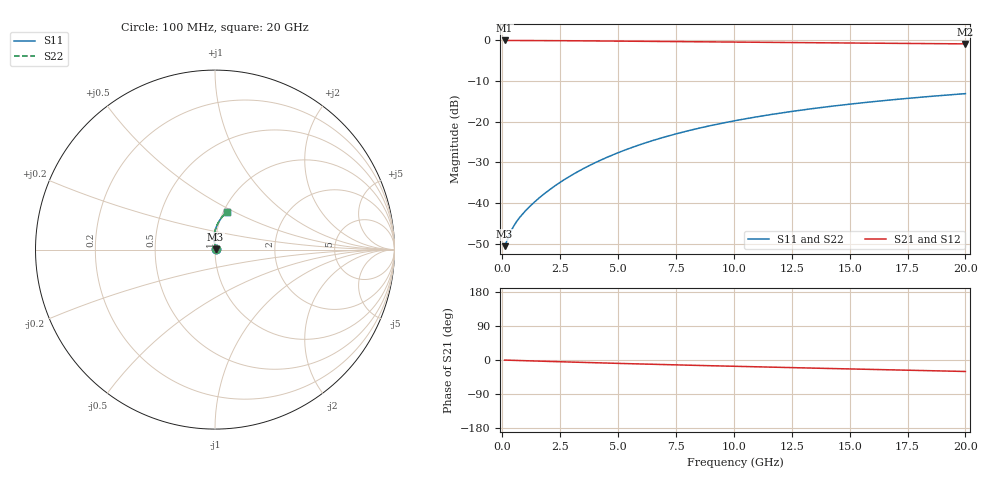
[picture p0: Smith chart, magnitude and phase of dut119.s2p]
! Touchstone file exported from HFSS 2024.1.0
!  File:  C:/UserFiles/LocalFiles/RDL_TSV_Batchsim/temp_RDL_top_119_1778683935.aedt
!  Generated:  10:54:21 PM May 13, 2026
!  Design:  RDL_top
!  Project:  temp_RDL_top_119_1778683935
!  Setup:  Setup1
!  Solution:  Sweep
! Variables:
!  dtsv = 10.80580581um
!  hbump = 3um
!  htsv = 55.53um
!  ldown = 100um
!  lrdl = 468.04um
!  p = 40
!  p1 = 45.51um
!  rhole = 1um
!  t = 450um
!  tdown = 3.915915916um
!  trdl = 2.3um
!  wdown = 15.38538539um
!  wrdl = 29.92um
# GHz S MA R 50.000000
! Terminal data exported
! Port[1] = Box2_T1
! Port[2] = Box2_T2
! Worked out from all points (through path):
!   200 points, 100 MHz to 20 GHz, reference 50 ohm
!   highest |S21| = -0.02 dB at 100 MHz (marker M1); lowest = -0.9 dB at 20 GHz (marker M2)
!   group delay of S21, straight-line fit = 4.13 ps
!   lowest |S11| = -50.6 dB at 100 MHz (marker M3), VSWR 1.01, Z = 50.3 + j0.0941 ohm
!   |S11| at or under -10 dB: start of sweep to end of sweep
!   |S22| runs from -50.6 to -13.1 dB; largest |S21 - S12| = 4.4e-15
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0.1  0.002953 18.5  0.9972 -0.2  0.9972 -0.2  0.002953 18.5
! Gamma 0 0 0 0
! Port Impedance 50 0 50 0
0.3  0.004048 40.4  0.9968 -0.6  0.9968 -0.6  0.004048 40.4
0.4  0.004662 46.1  0.9965 -0.8  0.9965 -0.8  0.004661 46.1
0.5  0.005252 50.3  0.9963 -1.0  0.9963 -1.0  0.005252 50.3
0.6  0.005819 53.8  0.9961 -1.2  0.9961 -1.2  0.005818 53.8
0.8  0.006918 59.7  0.9956 -1.5  0.9956 -1.5  0.006917 59.7
1.2  0.009163 68.9  0.9947 -2.3  0.9947 -2.3  0.009162 68.9
1.7  0.01226 77.3  0.9935 -3.2  0.9935 -3.2  0.01226 77.3
2.2  0.01574 83.2  0.9919 -4.1  0.9919 -4.1  0.01574 83.2
2.8  0.0204 88.1  0.9897 -5.2  0.9897 -5.2  0.0204 88.2
3.5  0.02649 91.8  0.9866 -6.4  0.9866 -6.4  0.0265 91.9
4.2  0.03322 94.0  0.9832 -7.6  0.9832 -7.6  0.03323 94.1
5  0.04158 95.2  0.979 -8.9  0.979 -8.9  0.0416 95.3
5.9  0.05168 95.5  0.9741 -10.4  0.9741 -10.4  0.05171 95.5
6.8  0.06232 95.0  0.9691 -11.8  0.9691 -11.8  0.06236 95.0
8.4  0.08207 93.0  0.9603 -14.2  0.9603 -14.2  0.08213 93.1
10.1  0.1035 90.2  0.9514 -16.7  0.9514 -16.7  0.1036 90.2
11.7  0.1237 87.2  0.9433 -19.0  0.9433 -19.0  0.1238 87.2
13.4  0.1449 84.0  0.9351 -21.4  0.9351 -21.4  0.145 84.0
15  0.1643 81.0  0.9277 -23.6  0.9277 -23.6  0.1645 81.1
16.7  0.1844 77.9  0.92 -25.9  0.92 -25.9  0.1846 78.0
20  0.2214 72.2  0.9054 -30.3  0.9054 -30.3  0.2216 72.3
